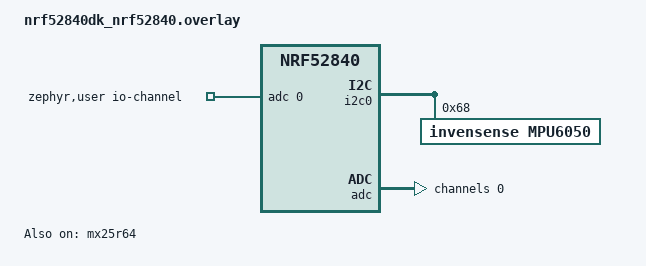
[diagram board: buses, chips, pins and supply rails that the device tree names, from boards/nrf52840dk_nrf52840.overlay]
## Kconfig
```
#
# Copyright (c) 2024 Nordic Semiconductor ASA
#
# SPDX-License-Identifier: LicenseRef-Nordic-5-Clause
#

menu "Sensor Mov ADV"



rsource "../common/src/sensor_common/Kconfig.sensor_common"
rsource "../common/src/sensor_ble/Kconfig.sensor_ble"
rsource "../common/src/sensor_ble_service/Kconfig.sensor_ble_service"
rsource "../common/src/battery_level/Kconfig.battery_level"



endmenu

menu "Zephyr Kernel"
source "Kconfig.zephyr"
endmenu
```

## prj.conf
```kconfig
#Common to all sensors
CONFIG_CBPRINTF_FP_SUPPORT=y
CONFIG_LOG=y

#I2C Sensor
CONFIG_I2C=y
CONFIG_SENSOR=y

#Bluetooth
CONFIG_BT=y
CONFIG_BT_DEVICE_NAME="Sensor Mov Adv"

#Peripheral
CONFIG_BT_PERIPHERAL=y

#DFU
CONFIG_NCS_SAMPLE_MCUMGR_BT_OTA_DFU=y 

#GATT
CONFIG_BT_GATT_CLIENT=y
CONFIG_SENSOR_BLE_SERVICE=y

#Adjust MTU size for GATT
CONFIG_BT_USER_DATA_LEN_UPDATE=y
CONFIG_BT_CTLR_DATA_LENGTH_MAX=251
CONFIG_BT_BUF_ACL_RX_SIZE=251
CONFIG_BT_BUF_ACL_TX_SIZE=251
CONFIG_BT_L2CAP_TX_MTU=247

#Security 
#CONFIG_BT_SMP=y
#CONFIG_BT_FIXED_PASSKEY=y

#Save BLE Info to Flash
# CONFIG_SETTINGS=y
# CONFIG_BT_SETTINGS=y
# CONFIG_FLASH=y
# CONFIG_FLASH_PAGE_LAYOUT=y
# CONFIG_FLASH_MAP=y
# CONFIG_NVS=y
```

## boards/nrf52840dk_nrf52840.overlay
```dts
// To get started, press Ctrl+Space to bring up the completion menu and view the available nodes.

// You can also use the buttons in the sidebar to perform actions on nodes.
// Actions currently available include:

// * Enabling / disabling the node
// * Adding the bus to a bus
// * Removing the node
// * Connecting ADC channels

// For more help, browse the DeviceTree documentation at https://docs.zephyrproject.org/latest/guides/dts/index.html
// You can also visit the nRF DeviceTree extension documentation at https://docs.nordicsemi.com/bundle/nrf-connect-vscode/page/guides/ncs_configure_app.html#devicetree-support-in-the-extension

/ {
	zephyr,user {
		io-channels = <&adc 0>;
	};
	chosen {
		nordic,pm-ext-flash = &mx25r64;
	};
};

&i2c0 {
    mpu6050: mpu6050@68 {
        compatible = "invensense,mpu6050";
        reg = <0x68>;  /* Endereço I2C padrão */
        label = "MPU6050";
    };
};

&adc {
	#address-cells = <1>;
	#size-cells = <0>;
	status = "okay";
	
	channel@0 {
		reg = <0>;
		zephyr,gain = "ADC_GAIN_1_6";
		zephyr,reference = "ADC_REF_INTERNAL";
		zephyr,acquisition-time = <ADC_ACQ_TIME(ADC_ACQ_TIME_MICROSECONDS, 40)>;
		zephyr,input-positive = <NRF_SAADC_VDD>;
		zephyr,resolution = <12>;
	};
};

&mx25r64 {
	status = "okay";
	};
	
```

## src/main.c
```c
/* main.c - Application main entry point */

/*
 * Copyright (c) 2015-2016 Intel Corporation
 *
 * SPDX-License-Identifier: Apache-2.0
 */

#include <zephyr/kernel.h>

#include <zephyr/logging/log.h>
#include <zephyr/drivers/sensor.h>
#include <zephyr/settings/settings.h>

#include <math.h>

#include "sensor_common.h"
#include "sensor_ble.h"
#ifdef CONFIG_SENSOR_BLE_SERVICE
#include "sensor_ble_service.h"
#endif // CONFIG_SENSOR_BLE_SERVICE


// Thresholds for detection
#define ACCEL_THRESHOLD 0.9f      // Acceleration threshold in m/s²
#define GYRO_THRESHOLD 0.9f       // Gyroscope threshold in rad/s
#define STANDING_THRESHOLD 8.0f   // Z-axis threshold to consider "standing"
#define SAMPLE_INTERVAL_MS 500    // Sampling interval in milliseconds
 
LOG_MODULE_REGISTER(sensor_mov_adv, LOG_LEVEL_INF);
 
static const struct device *init_sensor(void)
 {
    const struct device *dev = DEVICE_DT_GET(DT_ALIAS(sensor_imu));
    if (!device_is_ready(dev)) {
        LOG_ERR("IMU sensor not found!");
        return NULL;
    }
    return dev;
 }
 
 static int read_sensor_data(const struct device *sensor, sensor_data_t *data) {
    struct sensor_value accel[3], gyro[3];
    float accel_magnitude, gyro_magnitude;
    uint32_t timestamp = k_uptime_get_32();

    if (sensor_sample_fetch(sensor) < 0) {
        LOG_ERR("Failed to fetch sensor data");
        return -1;
    }

    sensor_channel_get(sensor, SENSOR_CHAN_ACCEL_XYZ, accel);
    sensor_channel_get(sensor, SENSOR_CHAN_GYRO_XYZ, gyro);

    accel_magnitude = sqrtf(
        powf(sensor_value_to_float(&accel[0]), 2) +
        powf(sensor_value_to_float(&accel[1]), 2) +
        powf(sensor_value_to_float(&accel[2]), 2)
    ) - 9.81f;

    gyro_magnitude = sqrtf(
        powf(sensor_value_to_float(&gyro[0]), 2) +
        powf(sensor_value_to_float(&gyro[1]), 2) +
        powf(sensor_value_to_float(&gyro[2]), 2)
    );

    bool is_moving = (fabsf(accel_magnitude) > ACCEL_THRESHOLD) || 
                     (gyro_magnitude > GYRO_THRESHOLD);

    float z_axis = sensor_value_to_float(&accel[2]);
    bool is_standing = (z_axis > STANDING_THRESHOLD);

    // Fill sensor_data_t structure
    data->company_id = COMPANY_ID;
    data->type = SENSOR_TYPE_MOTION;
    data->timestamp = timestamp;
    data->values[0] = is_moving ? 1 : 0;
    data->values[1] = is_standing ? 1 : 0;

    LOG_DBG("Accel magnitude: %.3f | Gyro magnitude: %.3f", 
            (double)accel_magnitude, (double)gyro_magnitude);
    LOG_DBG("Z-axis: %.3f", (double)z_axis);

    return 0;
}

 
/* Main Function */
int main(void) {
	sensor_data_t data, last;
    
    // Zero-initialize the entire struct to avoid garbage values
    memset(&data, 0, sizeof(sensor_data_t));

    LOG_INF("Sensor Temp BLE\n");

	int err = init_ble();
    if (err) {
		LOG_ERR("Failed to Init BLE");
		return -1;
	}
#ifdef CONFIG_BT_SMP
    settings_load();
    bt_ready(err);
#endif // CONFIG_BT_SMP

	// Initialize Sensor
    const struct device *sensor = init_sensor();
    if (!sensor) {
        LOG_ERR("Failed to init sensor");
        return -1;  // Exit if the sensor is not found
    }

	while (1) {
		// Read sensor data
        read_sensor_data(sensor, &data);

        // Check if MOVING and STANDING values changed from last sample
        if (data.values[0] != last.values[0] || data.values[1] != last.values[1]) {
            // Update the last values
            last.values[0] = data.values[0];
            last.values[1] = data.values[1];
            sensor_data_print(&data);
			LOG_HEXDUMP_DBG(&data, sizeof(sensor_data_t), "Sensor Data");
			sensor_data_adv_update(&data);
#ifdef CONFIG_SENSOR_BLE_SERVICE
            send_sensor_data_notification(data);
#endif // CONFIG_SENSOR_BLE_SERVICE

		} else {
		  //LOG_ERR("Failed to read sensor data");
		}
        k_sleep(K_MSEC(SAMPLE_INTERVAL_MS)); 
    }
    return 0;
}
```
